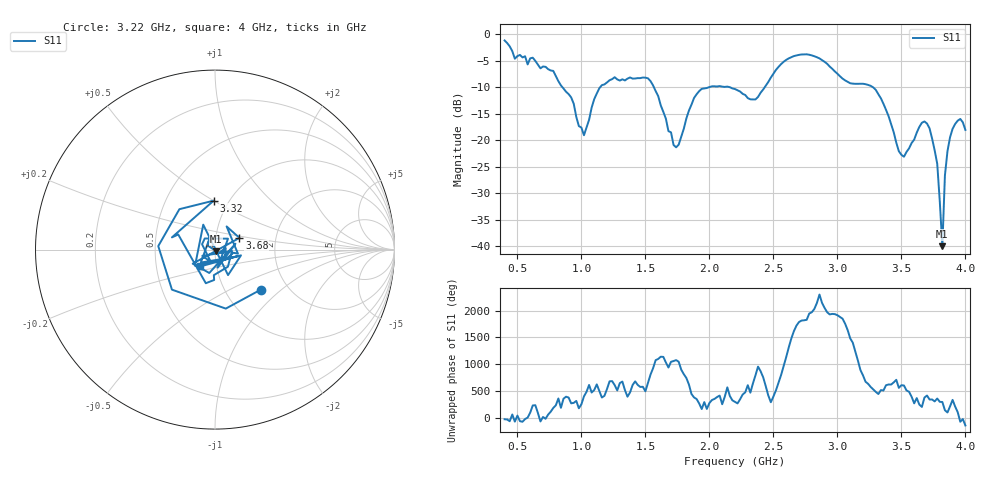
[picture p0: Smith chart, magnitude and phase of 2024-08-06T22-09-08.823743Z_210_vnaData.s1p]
!Created with skrf (http://scikit-rf.org).
# Hz S RI R 50.0
!freq ReS11 ImS11
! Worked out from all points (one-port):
!   181 points, 400 MHz to 4 GHz, reference 50 ohm
!   lowest |S11| = -40.0 dB at 3.82 GHz (marker M1), VSWR 1.02, Z = 50.5 - j0.848 ohm
!   |S11| at or under -10 dB: 853.3 MHz to 1.145 GHz (291.7 MHz wide, 29.2 % of centre); 1.567 GHz to 1.991 GHz (424.2 MHz wide, 23.8 % of centre); 3.281 GHz to end of sweep (the widest 3 of 4)
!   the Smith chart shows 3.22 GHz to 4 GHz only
!   S11 on the Smith chart (normalised r, x): 3.22 GHz: 1.47, -0.74; 3.32 GHz: 0.85, +0.50; 3.68 GHz: 1.30, +0.17; 4 GHz: 0.83, -0.16
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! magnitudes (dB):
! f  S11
! 400 MHz  -1.1
! 480 MHz  -4.6
! 620 MHz  -4.4
! 860 MHz  -10.2
! 1.02 GHz  -19.0
! 1.14 GHz  -10.2
! 1.3 GHz  -8.7
! 1.54 GHz  -8.8
! 1.72 GHz  -20.9
! 1.76 GHz  -20.8
! 1.92 GHz  -10.7
! 2.2 GHz  -10.3
! 2.36 GHz  -12.3
! 2.66 GHz  -4.1
! 2.86 GHz  -4.5
! 3.1 GHz  -9.2
! 3.22 GHz  -9.4
! 3.32 GHz  -11.3
! 3.48 GHz  -22.0
! 3.56 GHz  -21.5
! 3.68 GHz  -16.4
! 3.72 GHz  -17.7
! 3.78 GHz  -24.4
! 3.82 GHz  -40.0
! 3.84 GHz  -26.6
! 3.88 GHz  -19.4
! 3.96 GHz  -15.9
! 4 GHz  -18.0
